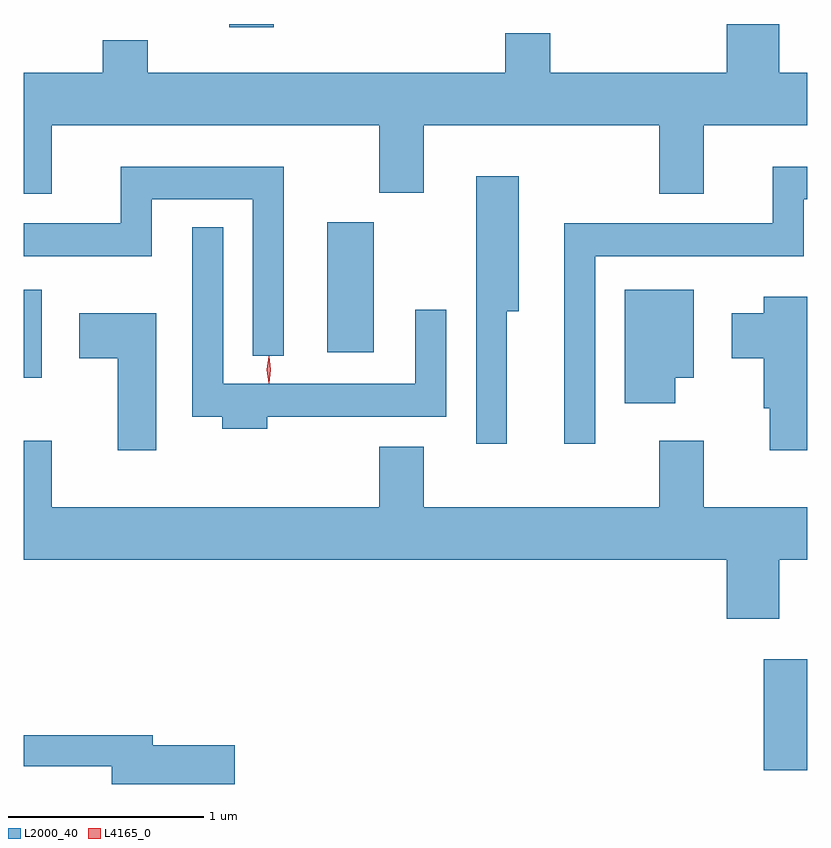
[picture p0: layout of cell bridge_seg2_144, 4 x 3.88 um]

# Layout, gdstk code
import gdstk
lib = gdstk.Library(unit=1e-6, precision=1e-09)
def R(c, l, rs):  # rectangles x0, y0, x1, y1
    for r in rs: c.add(gdstk.rectangle(r[:2], r[2:], *l))
def P(c, l, *ps):  # polygons
    for p in ps: c.add(gdstk.Polygon(p, *l))
L2000_40 = (2000, 40)
L4165_0 = (4165, 0)

bridge_seg2_144 = lib.new_cell('bridge_seg2_144')
R(bridge_seg2_144, L2000_40, [(1074.406,1102.741,1074.627,1103.309), (1070.627,1104.746,1070.719,1105.194), (1072.176,1104.876,1072.414,1105.539), (1071.676,1106.536,1071.904,1106.552)])
P(bridge_seg2_144, L2000_40, [(1070.769,1106.036),(1072.441,1106.036),(1072.441,1105.691),(1072.669,1105.691),(1072.669,1106.036),(1073.871,1106.036),(1073.871,1105.686),(1074.099,1105.686),(1074.099,1106.036),(1074.627,1106.036),(1074.627,1106.304),(1074.484,1106.304),(1074.484,1106.552),(1074.216,1106.552),(1074.216,1106.304),(1073.314,1106.304),(1073.314,1106.504),(1073.086,1106.504),(1073.086,1106.304),(1071.259,1106.304),(1071.259,1106.469),(1071.031,1106.469),(1071.031,1106.304),(1070.627,1106.304),(1070.627,1105.686),(1070.769,1105.686)],
  [(1071.954,1105.824),(1071.121,1105.824),(1071.121,1105.534),(1070.627,1105.534),(1070.627,1105.366),(1071.279,1105.366),(1071.279,1105.656),(1071.796,1105.656),(1071.796,1104.858),(1071.954,1104.858)],
  [(1073.544,1105.366),(1074.609,1105.366),(1074.609,1105.656),(1074.627,1105.656),(1074.627,1105.824),(1074.451,1105.824),(1074.451,1105.534),(1073.386,1105.534),(1073.386,1104.408),(1073.544,1104.408)],
  [(1073.094,1105.086),(1073.154,1105.086),(1073.154,1105.774),(1072.936,1105.774),(1072.936,1104.408),(1073.094,1104.408)],
  [(1071.869,1104.546),(1072.784,1104.546),(1072.784,1105.093),(1072.626,1105.093),(1072.626,1104.714),(1071.644,1104.714),(1071.644,1105.513),(1071.486,1105.513),(1071.486,1104.546),(1071.641,1104.546),(1071.641,1104.486),(1071.869,1104.486)],
  [(1073.954,1104.746),(1074.049,1104.746),(1074.049,1105.194),(1073.696,1105.194),(1073.696,1104.616),(1073.954,1104.616)],
  [(1074.627,1105.159),(1074.406,1105.159),(1074.406,1105.074),(1074.241,1105.074),(1074.241,1104.846),(1074.406,1104.846),(1074.406,1104.591),(1074.436,1104.591),(1074.436,1104.376),(1074.627,1104.376)],
  [(1071.304,1105.074),(1070.911,1105.074),(1070.911,1104.846),(1071.106,1104.846),(1071.106,1104.376),(1071.304,1104.376)],
  [(1074.484,1103.816),(1074.627,1103.816),(1074.627,1104.084),(1074.099,1104.084),(1074.099,1104.424),(1073.871,1104.424),(1073.871,1104.084),(1072.669,1104.084),(1072.669,1104.394),(1072.441,1104.394),(1072.441,1104.084),(1070.769,1104.084),(1070.769,1104.424),(1070.627,1104.424),(1070.627,1103.816),(1074.216,1103.816),(1074.216,1103.516),(1074.484,1103.516)],
  [(1071.704,1102.869),(1071.284,1102.869),(1071.284,1102.919),(1070.627,1102.919),(1070.627,1102.761),(1071.076,1102.761),(1071.076,1102.671),(1071.704,1102.671)])
P(bridge_seg2_144, L4165_0, [(1071.878,1104.717),(1071.878,1104.717),(1071.868,1104.787),(1071.878,1104.856),(1071.878,1104.856),(1071.879,1104.856),(1071.888,1104.787),(1071.879,1104.717)])

lib.write_gds('bridge_seg2_144.gds')
